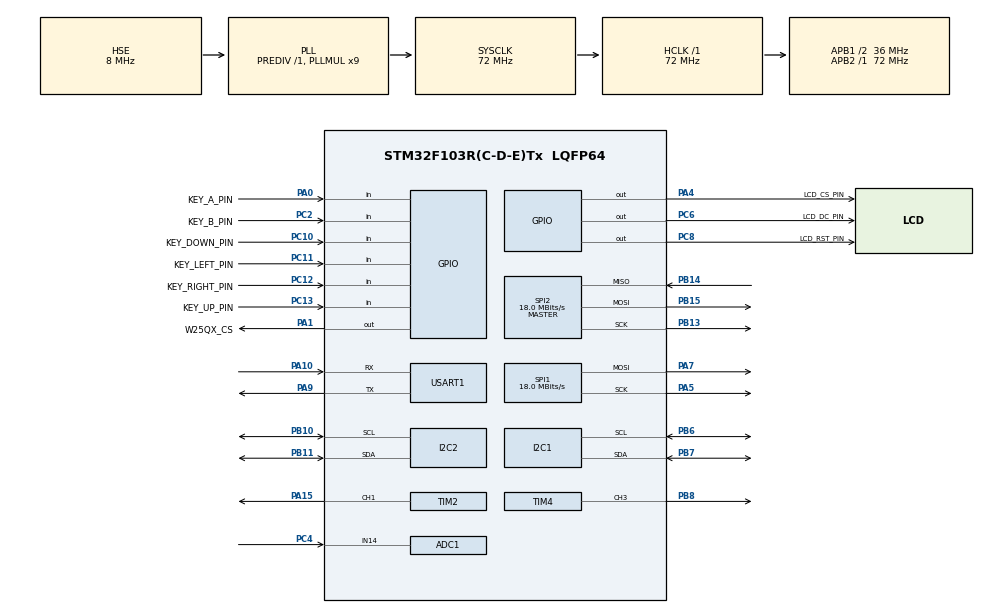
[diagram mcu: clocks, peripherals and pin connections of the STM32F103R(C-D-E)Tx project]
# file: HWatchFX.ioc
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ADC1.Channel-7\#ChannelRegularConversion=ADC_CHANNEL_TEMPSENSOR
ADC1.Channel-8\#ChannelRegularConversion=ADC_CHANNEL_VREFINT
ADC1.Channel-9\#ChannelRegularConversion=ADC_CHANNEL_14
ADC1.EnableRegularConversion=ENABLE
ADC1.NbrOfConversion=3
ADC1.NbrOfConversionFlag=1
ADC1.Rank-7\#ChannelRegularConversion=1
ADC1.Rank-8\#ChannelRegularConversion=2
ADC1.Rank-9\#ChannelRegularConversion=3
ADC1.SamplingTime-7\#ChannelRegularConversion=ADC_SAMPLETIME_55CYCLES_5
ADC1.SamplingTime-8\#ChannelRegularConversion=ADC_SAMPLETIME_55CYCLES_5
ADC1.SamplingTime-9\#ChannelRegularConversion=ADC_SAMPLETIME_55CYCLES_5
ADC1.master=1
Dma.ADC1.1.Direction=DMA_PERIPH_TO_MEMORY
Dma.ADC1.1.Instance=DMA1_Channel1
Dma.ADC1.1.MemDataAlignment=DMA_MDATAALIGN_HALFWORD
Dma.ADC1.1.MemInc=DMA_MINC_ENABLE
Dma.ADC1.1.Mode=DMA_NORMAL
Dma.ADC1.1.PeriphDataAlignment=DMA_PDATAALIGN_HALFWORD
Dma.ADC1.1.PeriphInc=DMA_PINC_DISABLE
Dma.ADC1.1.Priority=DMA_PRIORITY_HIGH
Dma.Request0=SPI1_TX
Dma.Request1=ADC1
Dma.Request2=USART1_RX
Dma.Request3=USART1_TX
Dma.SPI1_TX.0.Direction=DMA_MEMORY_TO_PERIPH
Dma.SPI1_TX.0.Instance=DMA1_Channel3
Dma.SPI1_TX.0.MemDataAlignment=DMA_MDATAALIGN_BYTE
Dma.SPI1_TX.0.MemInc=DMA_MINC_ENABLE
Dma.SPI1_TX.0.Mode=DMA_NORMAL
Dma.SPI1_TX.0.PeriphDataAlignment=DMA_PDATAALIGN_BYTE
Dma.SPI1_TX.0.PeriphInc=DMA_PINC_DISABLE
Dma.SPI1_TX.0.Priority=DMA_PRIORITY_VERY_HIGH
Dma.USART1_RX.2.Direction=DMA_PERIPH_TO_MEMORY
Dma.USART1_RX.2.Instance=DMA1_Channel5
Dma.USART1_RX.2.MemDataAlignment=DMA_MDATAALIGN_BYTE
Dma.USART1_RX.2.MemInc=DMA_MINC_ENABLE
Dma.USART1_RX.2.Mode=DMA_CIRCULAR
Dma.USART1_RX.2.PeriphDataAlignment=DMA_PDATAALIGN_BYTE
Dma.USART1_RX.2.PeriphInc=DMA_PINC_DISABLE
Dma.USART1_RX.2.Priority=DMA_PRIORITY_LOW
Dma.USART1_TX.3.Direction=DMA_MEMORY_TO_PERIPH
Dma.USART1_TX.3.Instance=DMA1_Channel4
Dma.USART1_TX.3.MemDataAlignment=DMA_MDATAALIGN_BYTE
Dma.USART1_TX.3.MemInc=DMA_MINC_ENABLE
Dma.USART1_TX.3.Mode=DMA_NORMAL
Dma.USART1_TX.3.PeriphDataAlignment=DMA_PDATAALIGN_BYTE
Dma.USART1_TX.3.PeriphInc=DMA_PINC_DISABLE
Dma.USART1_TX.3.Priority=DMA_PRIORITY_LOW
Mcu.Family=STM32F1
Mcu.Name=STM32F103R(C-D-E)Tx
Mcu.Package=LQFP64
NVIC.ADC1_2_IRQn=true\:0\:0\:false\:false\:true\:true\:true\:true
NVIC.DMA1_Channel1_IRQn=true\:0\:0\:false\:false\:true\:false\:true\:true
NVIC.DMA1_Channel3_IRQn=true\:0\:0\:false\:false\:true\:false\:true\:true
NVIC.DMA1_Channel4_IRQn=true\:0\:0\:false\:false\:true\:false\:true\:true
NVIC.DMA1_Channel5_IRQn=true\:0\:0\:false\:false\:true\:false\:true\:true
NVIC.PriorityGroup=NVIC_PRIORITYGROUP_4
NVIC.SPI1_IRQn=true\:0\:0\:false\:false\:true\:true\:true\:true
NVIC.SPI2_IRQn=true\:0\:0\:false\:false\:true\:true\:true\:true
NVIC.TIM4_IRQn=true\:0\:0\:false\:false\:true\:true\:true\:true
NVIC.TIM6_IRQn=true\:0\:0\:true\:true\:true\:1\:true\:true\:true
NVIC.TIM7_IRQn=true\:1\:0\:true\:false\:true\:true\:true\:true
NVIC.USART1_IRQn=true\:0\:0\:false\:false\:true\:true\:true\:true
PA0-WKUP.GPIO_Label=KEY_A_PIN
PA0-WKUP.GPIO_PuPd=GPIO_PULLDOWN
PA0-WKUP.Signal=GPIO_Input
PA1.GPIO_Label=W25QX_CS
PA1.GPIO_PuPd=GPIO_PULLUP
PA1.GPIO_Speed=GPIO_SPEED_FREQ_HIGH
PA1.PinState=GPIO_PIN_SET
PA1.Signal=GPIO_Output
PA10.Mode=Asynchronous
PA10.Signal=USART1_RX
PA13.Mode=Serial_Wire
PA13.Signal=SYS_JTMS-SWDIO
PA14.Mode=Serial_Wire
PA14.Signal=SYS_JTCK-SWCLK
PA15.Signal=S_TIM2_CH1_ETR
PA4.GPIO_Label=LCD_CS_PIN
PA4.GPIO_PuPd=GPIO_PULLUP
PA4.GPIO_Speed=GPIO_SPEED_FREQ_MEDIUM
PA4.Signal=GPIO_Output
PA5.Mode=TX_Only_Simplex_Unidirect_Master
PA5.Signal=SPI1_SCK
PA7.Mode=TX_Only_Simplex_Unidirect_Master
PA7.Signal=SPI1_MOSI
PA9.Mode=Asynchronous
PA9.Signal=USART1_TX
PB10.Mode=I2C
PB10.Signal=I2C2_SCL
PB11.Mode=I2C
PB11.Signal=I2C2_SDA
PB13.Mode=Full_Duplex_Master
PB13.Signal=SPI2_SCK
PB14.Mode=Full_Duplex_Master
PB14.Signal=SPI2_MISO
PB15.Mode=Full_Duplex_Master
PB15.Signal=SPI2_MOSI
PB6.Mode=I2C
PB6.Signal=I2C1_SCL
PB7.Mode=I2C
PB7.Signal=I2C1_SDA
PB8.Signal=S_TIM4_CH3
PC10.GPIO_Label=KEY_DOWN_PIN
PC10.GPIO_PuPd=GPIO_PULLUP
PC10.Signal=GPIO_Input
PC11.GPIO_Label=KEY_LEFT_PIN
PC11.GPIO_PuPd=GPIO_PULLUP
PC11.Signal=GPIO_Input
PC12.GPIO_Label=KEY_RIGHT_PIN
PC12.GPIO_PuPd=GPIO_PULLUP
PC12.Signal=GPIO_Input
PC13-TAMPER-RTC.GPIO_Label=KEY_UP_PIN
PC13-TAMPER-RTC.GPIO_PuPd=GPIO_PULLUP
PC13-TAMPER-RTC.Signal=GPIO_Input
PC2.GPIO_Label=KEY_B_PIN
PC2.GPIO_PuPd=GPIO_PULLUP
PC2.Signal=GPIO_Input
PC4.Signal=ADCx_IN14
PC6.GPIO_Label=LCD_DC_PIN
PC6.GPIO_PuPd=GPIO_PULLUP
PC6.GPIO_Speed=GPIO_SPEED_FREQ_MEDIUM
PC6.Signal=GPIO_Output
PC8.GPIO_Label=LCD_RST_PIN
PC8.GPIO_PuPd=GPIO_PULLUP
PC8.GPIO_Speed=GPIO_SPEED_FREQ_MEDIUM
PC8.Signal=GPIO_Output
PD0-OSC_IN.Mode=HSE-External-Oscillator
PD0-OSC_IN.Signal=RCC_OSC_IN
PD1-OSC_OUT.Mode=HSE-External-Oscillator
PD1-OSC_OUT.Signal=RCC_OSC_OUT
ProjectManager.HeapSize=0x400
ProjectManager.StackSize=0x600
ProjectManager.TargetToolchain=MDK-ARM V5.32
RCC.ADCPresc=RCC_ADCPCLK2_DIV6
RCC.AHBFreq_Value=72000000
RCC.APB1CLKDivider=RCC_HCLK_DIV2
RCC.APB1Freq_Value=36000000
RCC.APB1TimFreq_Value=72000000
RCC.APB2Freq_Value=72000000
RCC.APB2TimFreq_Value=72000000
RCC.EnbaleCSS=true
RCC.HCLKFreq_Value=72000000
RCC.PLLMUL=RCC_PLL_MUL9
RCC.PLLSourceVirtual=RCC_PLLSOURCE_HSE
RCC.SYSCLKFreq_VALUE=72000000
RCC.SYSCLKSource=RCC_SYSCLKSOURCE_PLLCLK
RCC.USBFreq_Value=72000000
SH.ADCx_IN14.0=ADC1_IN14,IN14
SH.S_TIM2_CH1_ETR.0=TIM2_CH1,PWM Generation1 CH1
SH.S_TIM4_CH3.0=TIM4_CH3,PWM Generation3 CH3
SPI1.BaudRatePrescaler=SPI_BAUDRATEPRESCALER_4
SPI1.CalculateBaudRate=18.0 MBits/s
SPI1.Direction=SPI_DIRECTION_2LINES
SPI1.Mode=SPI_MODE_MASTER
SPI1.VirtualType=VM_MASTER
SPI2.CalculateBaudRate=18.0 MBits/s
SPI2.Direction=SPI_DIRECTION_2LINES
SPI2.Mode=SPI_MODE_MASTER
SPI2.VirtualType=VM_MASTER
TIM2.Channel-PWM\ Generation1\ CH1=TIM_CHANNEL_1
TIM2.Period=249
TIM2.Prescaler=71
TIM2.Pulse-PWM\ Generation1\ CH1=125
TIM4.Channel-PWM\ Generation3\ CH3=TIM_CHANNEL_3
TIM4.Period=999
TIM4.Prescaler=719
TIM4.Pulse-PWM\ Generation3\ CH3=600
TIM6.AutoReloadPreload=TIM_AUTORELOAD_PRELOAD_DISABLE
TIM6.Period=999
TIM6.Prescaler=71
TIM7.Period=999
TIM7.Prescaler=71
USART1.VirtualMode=VM_ASYNC
VP_ADC1_TempSens_Input.Mode=IN-TempSens
VP_ADC1_Vref_Input.Mode=IN-Vrefint
VP_TIM6_VS_ClockSourceINT.Mode=Enable_Timer
VP_TIM7_VS_ClockSourceINT.Mode=Enable_Timer
board=custom

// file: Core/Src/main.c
/* USER CODE BEGIN Header */
/**
  ******************************************************************************
  * @file           : main.c
  * @brief          : Main program body
  ******************************************************************************
  * @attention
  *
  * Copyright (c) 2022 STMicroelectronics.
  * All rights reserved.
  *
  * This software is licensed under terms that can be found in the LICENSE file
  * in the root directory of this software component.
  * If no LICENSE file comes with this software, it is provided AS-IS.
  *
  ******************************************************************************
  */
/* USER CODE END Header */
#include "main.h"
#include "adc.h"
#include "dma.h"
#include "i2c.h"
#include "spi.h"
#include "tim.h"
#include "usart.h"
#include "gpio.h"

/* USER CODE BEGIN Includes */
#include "stdio.h"
#include "devices.h"
#include "gui_port.h"

#include "arduboy.h"
#include "SnakePort.h"
#include "FlappyBall.h"
#include "ArduboyButtons.h"
/* USER CODE END Includes */

/* USER CODE BEGIN PD */
#define ARDUBOY_GAME 0  //修改Stack_Size==>0x3000
/* USER CODE END PD */

void SystemClock_Config(void);
static void MX_NVIC_Init(void);
/* USER CODE BEGIN PFP */
static void HWatchFX_Logo(void);
static void arduboy_update(const unsigned char *image);
static void arduboy_delay(int ms);
/* USER CODE END PFP */

int main(void)
{

  /* MCU Configuration--------------------------------------------------------*/

  /* Reset of all peripherals, Initializes the Flash interface and the Systick. */
  HAL_Init();

  /* Configure the system clock */
  SystemClock_Config();

  /* USER CODE BEGIN SysInit */

//  __HAL_RCC_PWR_CLK_ENABLE();//使能PWR时钟
//  if (__HAL_PWR_GET_FLAG(PWR_FLAG_SB) != RESET)
//  {
//    /* Clear Standby flag */
//    __HAL_PWR_CLEAR_FLAG(PWR_FLAG_SB);
//  }
//	HAL_Delay(1000);
//	HAL_PWR_DisableWakeUpPin(PWR_WAKEUP_PIN1);
//	__HAL_PWR_CLEAR_FLAG(PWR_FLAG_WU);
//	HAL_PWR_EnableWakeUpPin(PWR_WAKEUP_PIN1);
//	HAL_PWR_EnterSTANDBYMode();//进入待机模式

  /* USER CODE END SysInit */

  /* Initialize all configured peripherals */
  MX_GPIO_Init();
  MX_DMA_Init();
  MX_USART1_UART_Init();
  MX_ADC1_Init();
  MX_SPI1_Init();
  MX_SPI2_Init();
  MX_I2C1_Init();
  MX_I2C2_Init();
  MX_TIM2_Init();
  MX_TIM4_Init();
  MX_TIM6_Init();
  MX_TIM7_Init();

  /* Initialize interrupts */
  MX_NVIC_Init();
  /* USER CODE BEGIN 2 */
	//====================Init Device====================
	HAL_UART_Receive_DMA(&huart1, uart_dma_recvbuf, DMA_BUFF_SIZE);
//	while(1){}
	device_init();
	//====================Init Arduboy====================
#if ARDUBOY_GAME
	arm_arduboy.delayHandler = arduboy_delay;
	arm_arduboy.paintHandler = arduboy_update;
	arm_arduboy.begin();
	arm_arduboy.setFrameRate(15);
	arm_arduboy.bootLogo();

	flappyball_init();
//	arduboy_btn_init();
//	snake_init();
#else
	//====================Init LVGL GUI====================
	gui_port_init();
	HAL_TIM_Base_Start_IT(&htim6);
#endif

  /* USER CODE END 2 */

  /* Infinite loop */
  /* USER CODE BEGIN WHILE */

	int count = 0;
	printf("System start!\n");
	UART_DMA_SEND("dma send", 9);
  while (1)
  {
    /* USER CODE END WHILE */

    /* USER CODE BEGIN 3 */
		//Watch GUI
#if ARDUBOY_GAME
		flappyball_loop();
//		arduboy_btn_loop();
//		snake_loop();
#else
		gui_port_task();
#endif

		CPU_TS_Tmr_Delay_MS(1);

		if(count == 1000)
		{
			low_bat_detect();
			gui_port_memlog();
			count = 0;
		}
		count++;

  }
  /* USER CODE END 3 */
}

void SystemClock_Config(void)
{
  RCC_OscInitTypeDef RCC_OscInitStruct = {0};
  RCC_ClkInitTypeDef RCC_ClkInitStruct = {0};
  RCC_PeriphCLKInitTypeDef PeriphClkInit = {0};

  /** Initializes the RCC Oscillators according to the specified parameters
  * in the RCC_OscInitTypeDef structure.
  */
  RCC_OscInitStruct.OscillatorType = RCC_OSCILLATORTYPE_HSE;
  RCC_OscInitStruct.HSEState = RCC_HSE_ON;
  RCC_OscInitStruct.HSEPredivValue = RCC_HSE_PREDIV_DIV1;
  RCC_OscInitStruct.HSIState = RCC_HSI_ON;
  RCC_OscInitStruct.PLL.PLLState = RCC_PLL_ON;
  RCC_OscInitStruct.PLL.PLLSource = RCC_PLLSOURCE_HSE;
  RCC_OscInitStruct.PLL.PLLMUL = RCC_PLL_MUL9;
  if (HAL_RCC_OscConfig(&RCC_OscInitStruct) != HAL_OK)
  {
    Error_Handler();
  }

  /** Initializes the CPU, AHB and APB buses clocks
  */
  RCC_ClkInitStruct.ClockType = RCC_CLOCKTYPE_HCLK|RCC_CLOCKTYPE_SYSCLK
                              |RCC_CLOCKTYPE_PCLK1|RCC_CLOCKTYPE_PCLK2;
  RCC_ClkInitStruct.SYSCLKSource = RCC_SYSCLKSOURCE_PLLCLK;
  RCC_ClkInitStruct.AHBCLKDivider = RCC_SYSCLK_DIV1;
  RCC_ClkInitStruct.APB1CLKDivider = RCC_HCLK_DIV2;
  RCC_ClkInitStruct.APB2CLKDivider = RCC_HCLK_DIV1;

  if (HAL_RCC_ClockConfig(&RCC_ClkInitStruct, FLASH_LATENCY_2) != HAL_OK)
  {
    Error_Handler();
  }
  PeriphClkInit.PeriphClockSelection = RCC_PERIPHCLK_ADC;
  PeriphClkInit.AdcClockSelection = RCC_ADCPCLK2_DIV6;
  if (HAL_RCCEx_PeriphCLKConfig(&PeriphClkInit) != HAL_OK)
  {
    Error_Handler();
  }

  /** Enables the Clock Security System
  */
  HAL_RCC_EnableCSS();
}

/**
  * @brief NVIC Configuration.
  * @retval None
  */
static void MX_NVIC_Init(void)
{
  /* TIM6_IRQn interrupt configuration */
  HAL_NVIC_SetPriority(TIM6_IRQn, 0, 0);
  HAL_NVIC_EnableIRQ(TIM6_IRQn);
}

/* USER CODE BEGIN 4 */

void timer6_handler(void)
{
	gui_port_tick();
}

void timer7_handler(void)
{
	gui_port_systick();  //1MS
}

#if ARDUBOY_GAME
uint16_t img[128*64];
static void arduboy_update(const unsigned char *image)
{
	uint16_t len = arm_arduboy.width() * arm_arduboy.height() / 8;
	uint8_t row_index = 0;
	memset(img, 0x00, sizeof(uint16_t));

	for(int i=0;i<len;i+=arm_arduboy.width())
	{
		for(int col=0;col<arm_arduboy.width();col++)
		{
			uint16_t index = (i + col);
			uint8_t tmp = *(image + index);
			uint8_t bit = 0;
			for(int row=0;row<8;row++)
			{
				bit = (tmp & (1 << row)) >> row;
				index = (row_index + row) * arm_arduboy.width() + col + row + row_index;
				img[index] = bit == 0 ? FLIPW(BLACK) : FLIPW(GREEN);
			}

		}
		row_index+=8;
	}
	LCD_1IN28_DisplayWindows(56,64,184,128,img);
}

static void arduboy_delay(int ms)
{
	CPU_TS_Tmr_Delay_MS(ms);
}

#endif

/* USER CODE END 4 */

void Error_Handler(void)
{
  __disable_irq();
  while (1)
  {
  }
}
